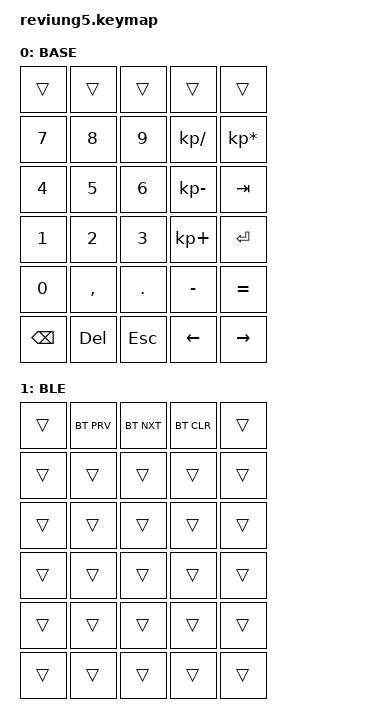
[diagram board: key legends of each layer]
/* SPDX-License-Identifier: MIT */

#include <behaviors.dtsi>
#include <dt-bindings/zmk/keys.h>
#include <dt-bindings/zmk/bt.h>

 / {
    keymap {
        compatible = "zmk,keymap";

        /* 5 columns x 6 rows = 30 bindings per layer */
        default_layer {
            display-name = "BASE";
            bindings = <
                /* R0 */ &trans   &trans    &trans        &trans        &trans
                /* R1 */ &kp N7   &kp N8    &kp N9        &kp KP_SLASH  &kp KP_ASTERISK
                /* R2 */ &kp N4   &kp N5    &kp N6        &kp KP_MINUS  &kp TAB
                /* R3 */ &kp N1   &kp N2    &kp N3        &kp KP_PLUS   &kp ENTER
                /* R4 */ &kp N0   &kp COMMA &kp DOT       &kp MINUS     &kp EQUAL
                /* R5 */ &kp BSPC &kp DEL   &kp ESC       &kp LEFT      &kp RIGHT
            >;
        };

        ble_layer {
            display-name = "BLE";
            bindings = <
                /* R0 */ &trans         &bt BT_PRV &bt BT_NXT &bt BT_CLR &trans
                /* R1 */ &trans         &trans     &trans     &trans     &trans
                /* R2 */ &trans         &trans     &trans     &trans     &trans
                /* R3 */ &trans         &trans     &trans     &trans     &trans
                /* R4 */ &trans         &trans     &trans     &trans     &trans
                /* R5 */ &trans         &trans     &trans     &trans     &trans
            >;
        };
    };
};
